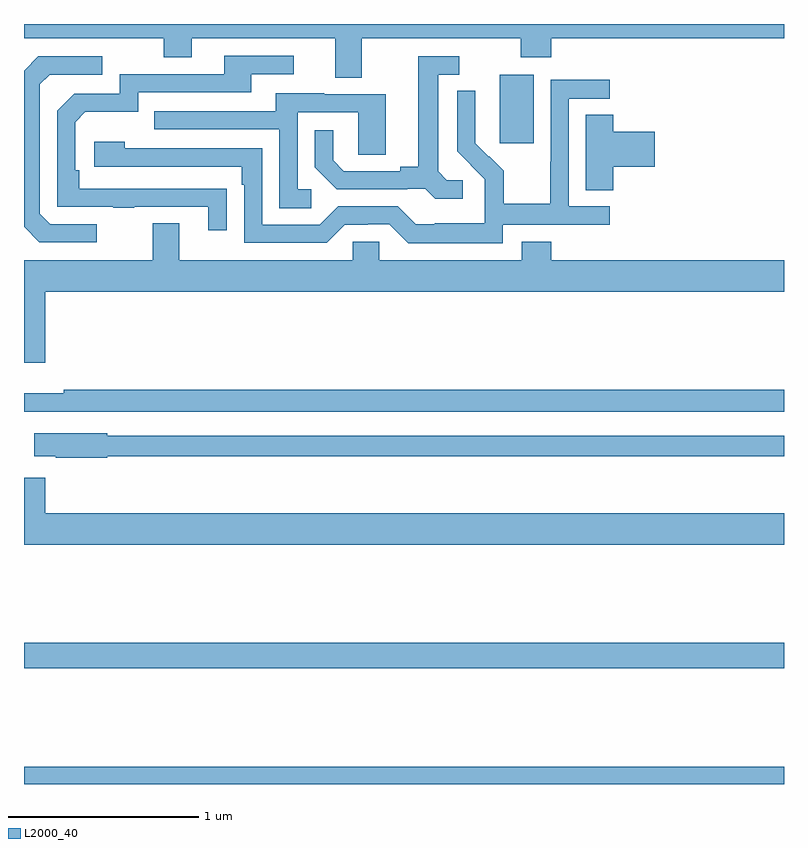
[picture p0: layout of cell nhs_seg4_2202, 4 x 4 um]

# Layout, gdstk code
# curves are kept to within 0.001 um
import gdstk
lib = gdstk.Library(unit=1e-6, precision=1e-09)
def R(c, l, rs):  # rectangles x0, y0, x1, y1
    for r in rs: c.add(gdstk.rectangle(r[:2], r[2:], *l))
def P(c, l, *ps):  # polygons
    for p in ps: c.add(gdstk.Polygon(p, *l))
L2000_40 = (2000, 40)

nhs_seg4_2202 = lib.new_cell('nhs_seg4_2202')
R(nhs_seg4_2202, L2000_40, [(225,788.9,229,788.992), (225,789.508,229,789.644), (227.504,792.273,227.683,792.634)])
P(nhs_seg4_2202, L2000_40, [(226.777,792.824),(227.614,792.824),(227.614,792.725),(227.774,792.725),(227.774,792.824),(229,792.824),(229,792.9),(225,792.9),(225,792.824),(225.736,792.824),(225.736,792.725),(225.883,792.725),(225.883,792.824),(226.637,792.824),(226.637,792.616),(226.777,792.616)],
  [(226.067,792.032),(225.29,792.033),(225.29,792.13),(225.27,792.13),(225.27,792.384),(225.323,792.437),(225.6,792.437),(225.6,792.54),(226.195,792.54),(226.195,792.636),(226.42,792.636),(226.42,792.732),(226.055,792.732),(226.055,792.636),(225.504,792.636),(225.504,792.534),(225.264,792.534),(225.174,792.444),(225.174,791.937),(225.469,791.937),(225.469,791.932),(225.581,791.932),(225.581,791.937),(225.971,791.937),(225.971,791.814),(226.067,791.814)],
  [(227.308,792.078),(227.226,792.078),(227.179,792.125),(227.179,792.633),(227.29,792.633),(227.29,792.729),(227.075,792.729),(227.075,792.149),(226.979,792.149),(226.979,792.126),(226.684,792.126),(226.627,792.183),(226.627,792.34),(226.53,792.34),(226.53,792.146),(226.646,792.03),(227.018,792.03),(227.018,792.033),(227.112,792.033),(227.164,791.981),(227.308,791.981)],
  [(225.382,791.847),(225.138,791.847),(225.084,791.901),(225.084,792.582),(225.135,792.633),(225.412,792.633),(225.412,792.729),(225.075,792.729),(225,792.654),(225,791.833),(225.081,791.751),(225.382,791.751)],
  [(227.52,791.844),(228.082,791.844),(228.082,791.94),(227.868,791.94),(227.868,792.507),(228.082,792.507),(228.082,792.606),(227.772,792.606),(227.772,792.176),(227.77,792.176),(227.77,791.953),(227.525,791.953),(227.525,792.127),(227.448,792.204),(227.445,792.201),(227.375,792.272),(227.376,792.548),(227.28,792.548),(227.28,792.23),(227.426,792.082),(227.426,791.985),(227.424,791.985),(227.424,791.851),(227.161,791.851),(227.161,791.847),(227.061,791.847),(226.968,791.94),(226.653,791.94),(226.557,791.844),(226.254,791.844),(226.254,792.246),(225.53,792.246),(225.53,792.28),(225.369,792.28),(225.369,792.15),(226.145,792.15),(226.145,792.053),(226.158,792.053),(226.158,791.748),(226.593,791.748),(226.689,791.844),(226.808,791.844),(226.808,791.847),(226.923,791.847),(227.023,791.747),(227.52,791.747)],
  [(226.513,792.03),(226.44,792.03),(226.44,792.435),(226.758,792.435),(226.758,792.211),(226.903,792.211),(226.903,792.531),(226.579,792.531),(226.579,792.535),(226.325,792.535),(226.325,792.441),(225.685,792.441),(225.685,792.345),(226.344,792.345),(226.344,791.929),(226.513,791.929)],
  [(228.101,792.149),(228.319,792.149),(228.319,792.332),(228.101,792.332),(228.101,792.422),(227.957,792.422),(227.957,792.025),(228.101,792.025)],
  [(225.112,791.492),(229,791.492),(229,791.656),(227.774,791.656),(227.774,791.755),(227.621,791.755),(227.621,791.656),(226.869,791.656),(226.869,791.754),(226.731,791.754),(226.731,791.656),(225.817,791.656),(225.817,791.851),(225.677,791.851),(225.677,791.656),(225,791.656),(225,791.118),(225.112,791.118)],
  [(229,790.976),(225.208,790.976),(225.208,790.957),(225,790.957),(225,790.86),(229,790.86)],
  [(225.438,790.626),(229,790.626),(229,790.734),(225.438,790.734),(225.438,790.747),(225.054,790.747),(225.054,790.625),(225.166,790.625),(225.166,790.618),(225.438,790.618)],
  [(229,790.324),(225.112,790.324),(225.112,790.513),(225,790.513),(225,790.16),(229,790.16)])

lib.write_gds('nhs_seg4_2202.gds')
